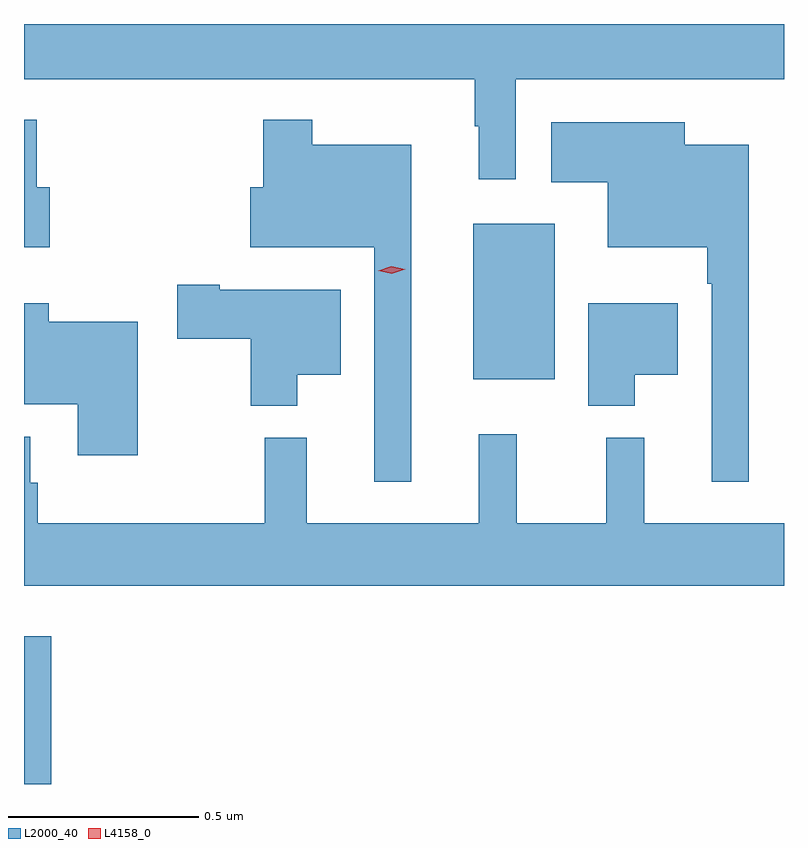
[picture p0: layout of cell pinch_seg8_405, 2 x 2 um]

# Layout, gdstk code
import gdstk
lib = gdstk.Library(unit=1e-6, precision=1e-09)
def R(c, l, rs):  # rectangles x0, y0, x1, y1
    for r in rs: c.add(gdstk.rectangle(r[:2], r[2:], *l))
def P(c, l, *ps):  # polygons
    for p in ps: c.add(gdstk.Polygon(p, *l))
L2000_40 = (2000, 40)
L4158_0 = (4158, 0)

pinch_seg8_405 = lib.new_cell('pinch_seg8_405')
R(pinch_seg8_405, L2000_40, [(556.589,1090.67,556.661,1091.059), (557.771,1091.735,557.986,1092.145)])
P(pinch_seg8_405, L2000_40, [(557.883,1092.524),(558.589,1092.524),(558.589,1092.67),(556.589,1092.67),(556.589,1092.524),(557.775,1092.524),(557.775,1092.401),(557.786,1092.401),(557.786,1092.261),(557.883,1092.261)],
  [(556.657,1092.241),(556.622,1092.241),(556.622,1092.418),(556.589,1092.418),(556.589,1092.083),(556.657,1092.083)],
  [(557.608,1092.352),(557.347,1092.352),(557.347,1092.418),(557.218,1092.418),(557.218,1092.241),(557.184,1092.241),(557.184,1092.083),(557.511,1092.083),(557.511,1091.466),(557.608,1091.466)],
  [(558.496,1092.352),(558.328,1092.352),(558.328,1092.412),(557.976,1092.412),(557.976,1092.254),(558.125,1092.254),(558.125,1092.083),(558.387,1092.083),(558.387,1091.987),(558.399,1091.987),(558.399,1091.466),(558.496,1091.466)],
  [(557.308,1091.747),(557.422,1091.747),(557.422,1091.971),(557.104,1091.971),(557.104,1091.984),(556.992,1091.984),(556.992,1091.842),(557.186,1091.842),(557.186,1091.666),(557.308,1091.666)],
  [(558.196,1091.747),(558.31,1091.747),(558.31,1091.935),(558.074,1091.935),(558.074,1091.666),(558.196,1091.666)],
  [(556.888,1091.887),(556.654,1091.887),(556.654,1091.935),(556.589,1091.935),(556.589,1091.669),(556.73,1091.669),(556.73,1091.535),(556.888,1091.535)],
  [(558.589,1091.356),(558.221,1091.356),(558.221,1091.581),(558.121,1091.581),(558.121,1091.356),(557.886,1091.356),(557.886,1091.59),(557.786,1091.59),(557.786,1091.356),(557.333,1091.356),(557.333,1091.581),(557.223,1091.581),(557.223,1091.356),(556.625,1091.356),(556.625,1091.463),(556.605,1091.463),(556.605,1091.584),(556.589,1091.584),(556.589,1091.192),(558.589,1091.192)])
P(pinch_seg8_405, L4158_0, [(557.557,1092.013),(557.521,1092.021),(557.521,1092.021),(557.521,1092.021),(557.556,1092.033),(557.592,1092.025),(557.592,1092.024),(557.592,1092.024)])

lib.write_gds('pinch_seg8_405.gds')
